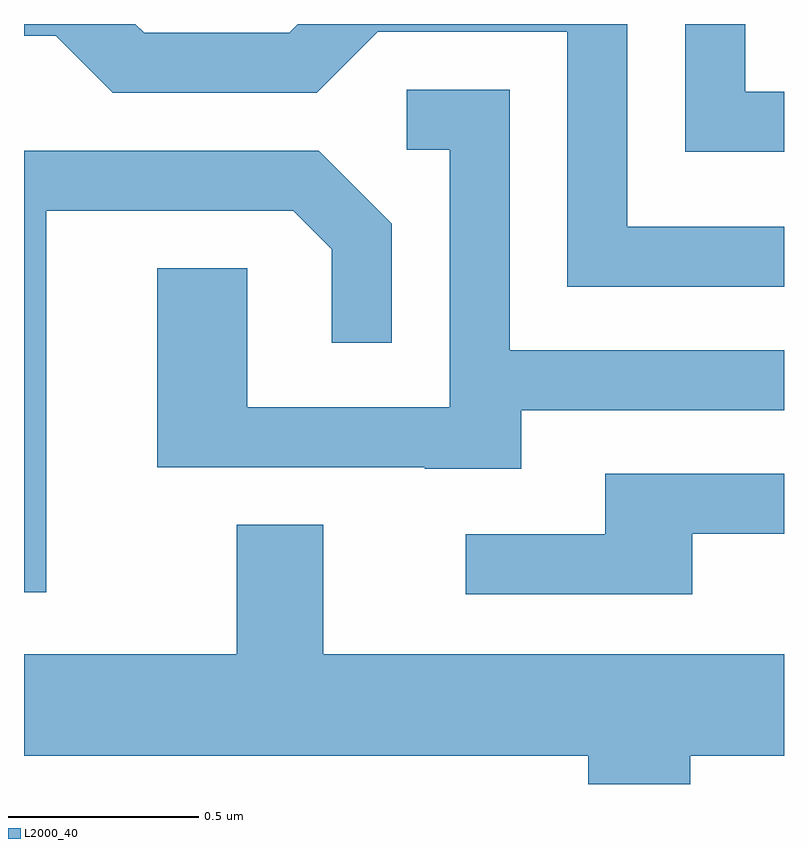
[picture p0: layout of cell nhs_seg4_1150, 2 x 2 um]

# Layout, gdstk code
import gdstk
lib = gdstk.Library(unit=1e-6, precision=1e-09)
def P(c, l, *ps):  # polygons
    for p in ps: c.add(gdstk.Polygon(p, *l))
L2000_40 = (2000, 40)

nhs_seg4_1150 = lib.new_cell('nhs_seg4_1150')
P(nhs_seg4_1150, L2000_40, [(195.611,1309.449),(195.199,1309.449),(195.199,1309.982),(194.332,1309.982),(194.309,1309.959),(193.927,1309.959),(193.904,1309.982),(193.611,1309.982),(193.611,1309.951),(193.694,1309.951),(193.844,1309.801),(194.382,1309.801),(194.542,1309.961),(195.041,1309.961),(195.041,1309.291),(195.611,1309.291)],
  [(195.611,1309.804),(195.509,1309.804),(195.509,1309.982),(195.351,1309.982),(195.351,1309.646),(195.611,1309.646)],
  [(194.919,1308.966),(195.611,1308.966),(195.611,1309.124),(194.889,1309.124),(194.889,1309.809),(194.618,1309.809),(194.618,1309.651),(194.731,1309.651),(194.731,1308.974),(194.199,1308.974),(194.199,1309.339),(193.961,1309.339),(193.961,1308.816),(194.665,1308.816),(194.665,1308.811),(194.919,1308.811)],
  [(193.669,1309.491),(194.319,1309.491),(194.421,1309.389),(194.421,1309.143),(194.579,1309.143),(194.579,1309.457),(194.387,1309.649),(193.611,1309.649),(193.611,1308.486),(193.669,1308.486)],
  [(195.369,1308.641),(195.611,1308.641),(195.611,1308.799),(195.141,1308.799),(195.141,1308.639),(194.773,1308.639),(194.773,1308.481),(195.369,1308.481)],
  [(195.364,1308.056),(195.611,1308.056),(195.611,1308.324),(194.399,1308.324),(194.399,1308.664),(194.171,1308.664),(194.171,1308.324),(193.611,1308.324),(193.611,1308.056),(195.096,1308.056),(195.096,1307.982),(195.364,1307.982)])

lib.write_gds('nhs_seg4_1150.gds')
